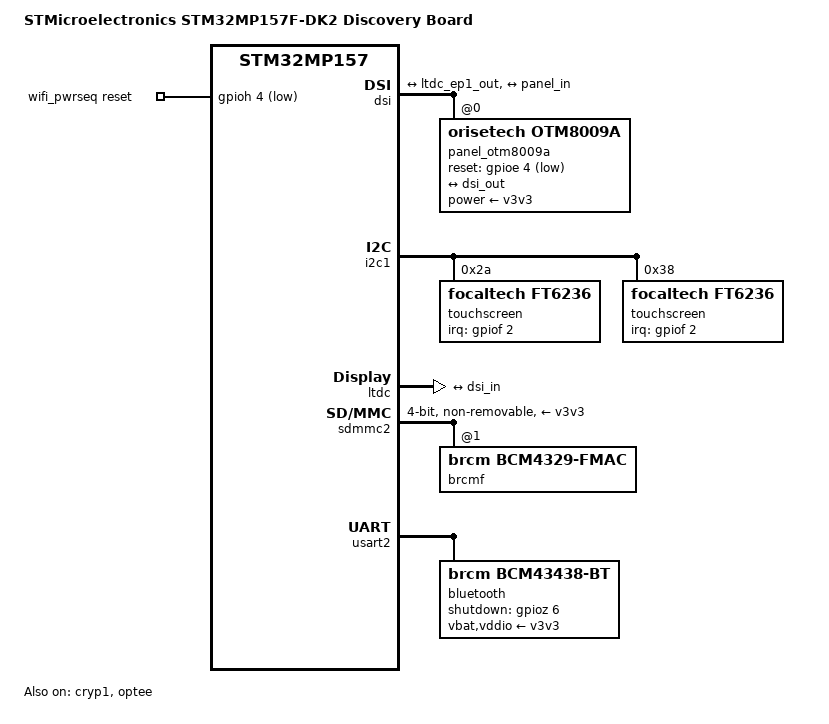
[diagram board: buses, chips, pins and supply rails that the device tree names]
// SPDX-License-Identifier: (GPL-2.0+ OR BSD-3-Clause)
/*
 * Copyright (C) STMicroelectronics 2019 - All Rights Reserved
 * Author: Alexandre Torgue <alexandre.torgue@st.com> for STMicroelectronics.
 */

/dts-v1/;

#include "stm32mp157.dtsi"
#include "stm32mp15xf.dtsi"
#include "stm32mp15-pinctrl.dtsi"
#include "stm32mp15xxac-pinctrl.dtsi"
#include "stm32mp15xx-dkx.dtsi"
#include <dt-bindings/rtc/rtc-stm32.h>

/ {
	model = "STMicroelectronics STM32MP157F-DK2 Discovery Board";
	compatible = "st,stm32mp157f-dk2", "st,stm32mp157";

	aliases {
		ethernet0 = &ethernet0;
		serial0 = &uart4;
		serial1 = &usart3;
		serial2 = &uart7;
		serial3 = &usart2;
	};

	chosen {
		stdout-path = "serial0:115200n8";
	};

	reserved-memory {
		gpu_reserved: gpu@da000000 {
			reg = <0xda000000 0x4000000>;
			no-map;
		};

		optee_memory: optee@0xde000000 {
			reg = <0xde000000 0x02000000>;
			no-map;
			status = "disabled";
		};
	};

	wifi_pwrseq: wifi-pwrseq {
		compatible = "mmc-pwrseq-simple";
		reset-gpios = <&gpioh 4 GPIO_ACTIVE_LOW>;
	};
};

&cryp1 {
	status="okay";
};

&dsi {
	#address-cells = <1>;
	#size-cells = <0>;
	status = "okay";

	ports {
		#address-cells = <1>;
		#size-cells = <0>;

		port@0 {
			reg = <0>;
			dsi_in: endpoint {
				remote-endpoint = <&ltdc_ep1_out>;
			};
		};

		port@1 {
			reg = <1>;
			dsi_out: endpoint {
				remote-endpoint = <&panel_in>;
			};
		};
	};

	panel_otm8009a: panel-otm8009a@0 {
		compatible = "orisetech,otm8009a";
		reg = <0>;
		reset-gpios = <&gpioe 4 GPIO_ACTIVE_LOW>;
		power-supply = <&v3v3>;
		status = "okay";

		port {
			panel_in: endpoint {
				remote-endpoint = <&dsi_out>;
			};
		};
	};
};

&i2c1 {
	touchscreen@2a {
		compatible = "focaltech,ft6236";
		reg = <0x2a>;
		interrupts = <2 2>;
		interrupt-parent = <&gpiof>;
		interrupt-controller;
		touchscreen-size-x = <480>;
		touchscreen-size-y = <800>;
		panel = <&panel_otm8009a>;
		status = "okay";
	};
	touchscreen@38 {
		compatible = "focaltech,ft6236";
		reg = <0x38>;
		interrupts = <2 2>;
		interrupt-parent = <&gpiof>;
		interrupt-controller;
		touchscreen-size-x = <480>;
		touchscreen-size-y = <800>;
		panel = <&panel_otm8009a>;
		status = "okay";
	};
};

&ltdc {
	status = "okay";

	port {
		#address-cells = <1>;
		#size-cells = <0>;

		ltdc_ep1_out: endpoint@1 {
			reg = <1>;
			remote-endpoint = <&dsi_in>;
		};
	};
};

&rtc {
	st,lsco = <RTC_OUT2_RMP>;
	pinctrl-0 = <&rtc_out2_rmp_pins_a>;
	pinctrl-names = "default";
};

/* Wifi */
&sdmmc2 {
	arm,primecell-periphid = <0x10153180>;
	pinctrl-names = "default", "opendrain", "sleep";
	pinctrl-0 = <&sdmmc2_b4_pins_a>;
	pinctrl-1 = <&sdmmc2_b4_od_pins_a>;
	pinctrl-2 = <&sdmmc2_b4_sleep_pins_a>;
	non-removable;
	st,neg-edge;
	bus-width = <4>;
	vmmc-supply = <&v3v3>;
	mmc-pwrseq = <&wifi_pwrseq>;
	#address-cells = <1>;
	#size-cells = <0>;
	status = "okay";

	brcmf: bcrmf@1 {
		reg = <1>;
		compatible = "brcm,bcm4329-fmac";
	};
};

/* Bluetooth */
&usart2 {
	pinctrl-names = "default", "sleep", "idle";
	pinctrl-0 = <&usart2_pins_a>;
	pinctrl-1 = <&usart2_sleep_pins_a>;
	pinctrl-2 = <&usart2_idle_pins_a>;
	uart-has-rtscts;
	status = "okay";

	bluetooth {
		shutdown-gpios = <&gpioz 6 GPIO_ACTIVE_HIGH>;
		compatible = "brcm,bcm43438-bt";
		max-speed = <3000000>;
		vbat-supply = <&v3v3>;
		vddio-supply = <&v3v3>;
	};
};

&optee_memory {
	status = "okay";
};

&optee {
	status = "okay";
};
